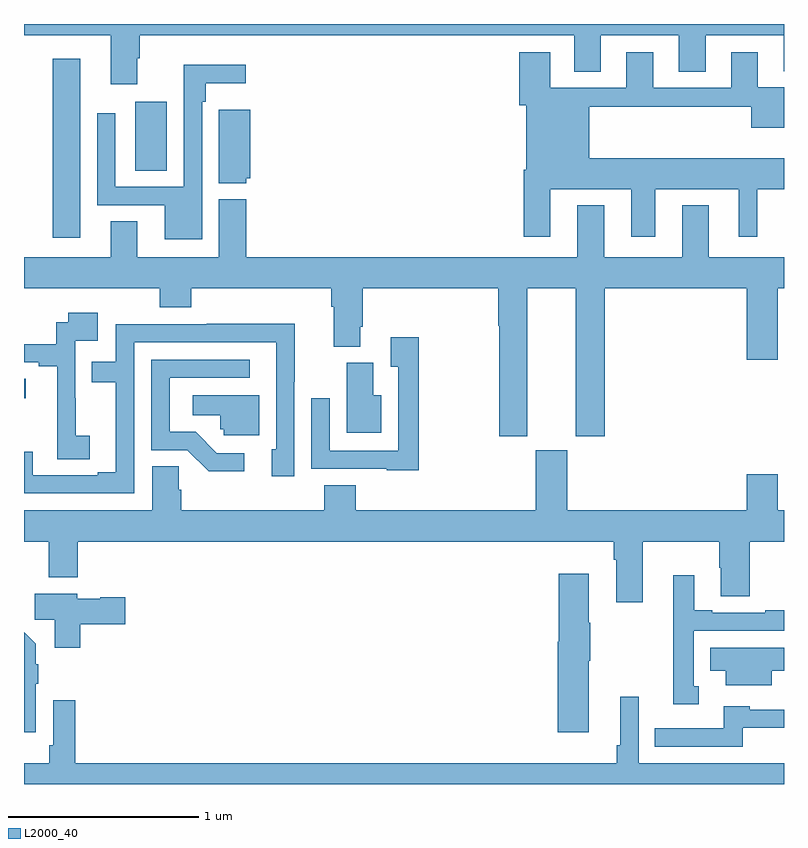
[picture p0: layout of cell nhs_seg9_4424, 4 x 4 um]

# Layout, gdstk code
import gdstk
lib = gdstk.Library(unit=1e-6, precision=1e-09)
def R(c, l, rs):  # rectangles x0, y0, x1, y1
    for r in rs: c.add(gdstk.rectangle(r[:2], r[2:], *l))
def P(c, l, *ps):  # polygons
    for p in ps: c.add(gdstk.Polygon(p, *l))
L2000_40 = (2000, 40)

nhs_seg9_4424 = lib.new_cell('nhs_seg9_4424')
R(nhs_seg9_4424, L2000_40, [(365,1174.531,365.008,1174.634), (365.15,1175.376,365.296,1176.316), (365.585,1175.728,365.752,1176.091)])
P(nhs_seg9_4424, L2000_40, [(367.895,1176.25),(368.035,1176.25),(368.035,1176.44),(368.447,1176.44),(368.447,1176.25),(368.587,1176.25),(368.587,1176.44),(368.999,1176.44),(368.999,1176.251),(369,1176.251),(369,1176.5),(365,1176.5),(365,1176.44),(365.456,1176.44),(365.456,1176.183),(365.596,1176.183),(365.596,1176.32),(365.609,1176.32),(365.609,1176.44),(367.895,1176.44)],
  [(367.771,1175.63),(368.195,1175.63),(368.195,1175.379),(368.323,1175.379),(368.323,1175.63),(368.762,1175.63),(368.762,1175.379),(368.86,1175.379),(368.86,1175.63),(369,1175.63),(369,1175.794),(367.975,1175.794),(367.975,1176.064),(368.828,1176.064),(368.828,1175.954),(369,1175.954),(369,1176.166),(368.863,1176.166),(368.863,1176.352),(368.723,1176.352),(368.723,1176.165),(368.311,1176.165),(368.311,1176.352),(368.171,1176.352),(368.171,1176.165),(367.771,1176.165),(367.771,1176.352),(367.607,1176.352),(367.607,1176.072),(367.643,1176.072),(367.643,1175.734),(367.631,1175.734),(367.631,1175.379),(367.771,1175.379)],
  [(365.937,1176.092),(365.957,1176.092),(365.957,1176.188),(366.166,1176.188),(366.166,1176.286),(365.841,1176.286),(365.841,1175.643),(365.481,1175.643),(365.481,1176.031),(365.385,1176.031),(365.385,1175.547),(365.741,1175.547),(365.741,1175.366),(365.937,1175.366)],
  [(366.171,1175.688),(366.19,1175.688),(366.19,1176.049),(366.026,1176.049),(366.026,1175.663),(366.171,1175.663)],
  [(367.648,1175.108),(367.904,1175.108),(367.904,1174.329),(368.057,1174.329),(368.057,1175.108),(368.804,1175.108),(368.804,1174.734),(368.968,1174.734),(368.968,1175.108),(369,1175.108),(369,1175.272),(368.605,1175.272),(368.605,1175.545),(368.465,1175.545),(368.465,1175.272),(368.053,1175.272),(368.053,1175.545),(367.913,1175.545),(367.913,1175.272),(366.17,1175.272),(366.17,1175.578),(366.026,1175.578),(366.026,1175.272),(365.596,1175.272),(365.596,1175.462),(365.456,1175.462),(365.456,1175.272),(365,1175.272),(365,1175.108),(365.714,1175.108),(365.714,1175.009),(365.879,1175.009),(365.879,1175.108),(366.617,1175.108),(366.617,1175.012),(366.629,1175.012),(366.629,1174.801),(366.769,1174.801),(366.769,1174.906),(366.782,1174.906),(366.782,1175.108),(367.496,1175.108),(367.496,1174.912),(367.501,1174.912),(367.501,1174.329),(367.648,1174.329)],
  [(365.347,1174.332),(365.273,1174.332),(365.273,1174.529),(365.271,1174.529),(365.271,1174.833),(365.389,1174.833),(365.389,1174.981),(365.233,1174.981),(365.233,1174.929),(365.17,1174.929),(365.17,1174.815),(365,1174.815),(365,1174.719),(365.078,1174.719),(365.078,1174.699),(365.174,1174.699),(365.174,1174.321),(365.176,1174.321),(365.176,1174.21),(365.347,1174.21)],
  [(365.58,1174.824),(366.327,1174.824),(366.327,1174.263),(366.305,1174.263),(366.305,1174.119),(366.423,1174.119),(366.423,1174.618),(366.425,1174.618),(366.425,1174.922),(365.962,1174.922),(365.962,1174.92),(365.484,1174.92),(365.484,1174.722),(365.356,1174.722),(365.356,1174.614),(365.483,1174.614),(365.483,1174.14),(365.387,1174.14),(365.387,1174.125),(365.046,1174.125),(365.046,1174.248),(365,1174.248),(365,1174.029),(365.58,1174.029)],
  [(367.078,1174.852),(366.929,1174.852),(366.929,1174.696),(366.969,1174.696),(366.969,1174.254),(366.609,1174.254),(366.609,1174.531),(366.513,1174.531),(366.513,1174.158),(366.909,1174.158),(366.909,1174.151),(367.078,1174.151)],
  [(366.16,1174.242),(366.015,1174.242),(365.904,1174.353),(365.766,1174.353),(365.766,1174.638),(366.187,1174.638),(366.187,1174.734),(365.67,1174.734),(365.67,1174.257),(365.859,1174.257),(365.972,1174.145),(366.16,1174.145)],
  [(366.88,1174.546),(366.838,1174.546),(366.838,1174.716),(366.698,1174.716),(366.698,1174.349),(366.88,1174.349)],
  [(366.238,1174.546),(365.889,1174.546),(365.889,1174.442),(366.033,1174.442),(366.033,1174.368),(366.051,1174.368),(366.051,1174.335),(366.238,1174.335)],
  [(368.257,1173.776),(368.659,1173.776),(368.659,1173.638),(368.666,1173.638),(368.666,1173.487),(368.819,1173.487),(368.819,1173.776),(369,1173.776),(369,1173.94),(368.968,1173.94),(368.968,1174.129),(368.804,1174.129),(368.804,1173.94),(367.858,1173.94),(367.858,1174.257),(367.694,1174.257),(367.694,1173.94),(366.746,1173.94),(366.746,1174.073),(366.581,1174.073),(366.581,1173.94),(365.828,1173.94),(365.828,1174.049),(365.814,1174.049),(365.814,1174.172),(365.675,1174.172),(365.675,1173.94),(365,1173.94),(365,1173.776),(365.129,1173.776),(365.129,1173.587),(365.282,1173.587),(365.282,1173.776),(368.105,1173.776),(368.105,1173.68),(368.117,1173.68),(368.117,1173.456),(368.257,1173.456)],
  [(367.972,1173.149),(367.98,1173.149),(367.98,1173.349),(367.972,1173.349),(367.972,1173.607),(367.814,1173.607),(367.814,1173.249),(367.808,1173.249),(367.808,1172.772),(367.972,1172.772)],
  [(368.551,1173.015),(368.526,1173.015),(368.526,1173.306),(369,1173.306),(369,1173.415),(368.902,1173.415),(368.902,1173.402),(368.623,1173.402),(368.623,1173.415),(368.527,1173.415),(368.527,1173.598),(368.417,1173.598),(368.417,1173.353),(368.418,1173.353),(368.418,1172.921),(368.551,1172.921)],
  [(365.297,1173.341),(365.533,1173.341),(365.533,1173.483),(365.4,1173.483),(365.4,1173.475),(365.28,1173.475),(365.28,1173.502),(365.057,1173.502),(365.057,1173.364),(365.162,1173.364),(365.162,1173.216),(365.297,1173.216)],
  [(365.062,1173.028),(365.075,1173.028),(365.075,1173.131),(365.062,1173.131),(365.062,1173.238),(365,1173.3),(365,1172.772),(365.062,1172.772)],
  [(368.935,1173.095),(369,1173.095),(369,1173.217),(368.611,1173.217),(368.611,1173.095),(368.693,1173.095),(368.693,1173.02),(368.935,1173.02)],
  [(369,1172.608),(368.235,1172.608),(368.235,1172.959),(368.138,1172.959),(368.138,1172.704),(368.119,1172.704),(368.119,1172.608),(365.27,1172.608),(365.27,1172.941),(365.154,1172.941),(365.154,1172.704),(365.134,1172.704),(365.134,1172.608),(365,1172.608),(365,1172.5),(369,1172.5)],
  [(368.784,1172.796),(369,1172.796),(369,1172.892),(368.82,1172.892),(368.82,1172.908),(368.684,1172.908),(368.684,1172.793),(368.32,1172.793),(368.32,1172.697),(368.784,1172.697)])

lib.write_gds('nhs_seg9_4424.gds')
